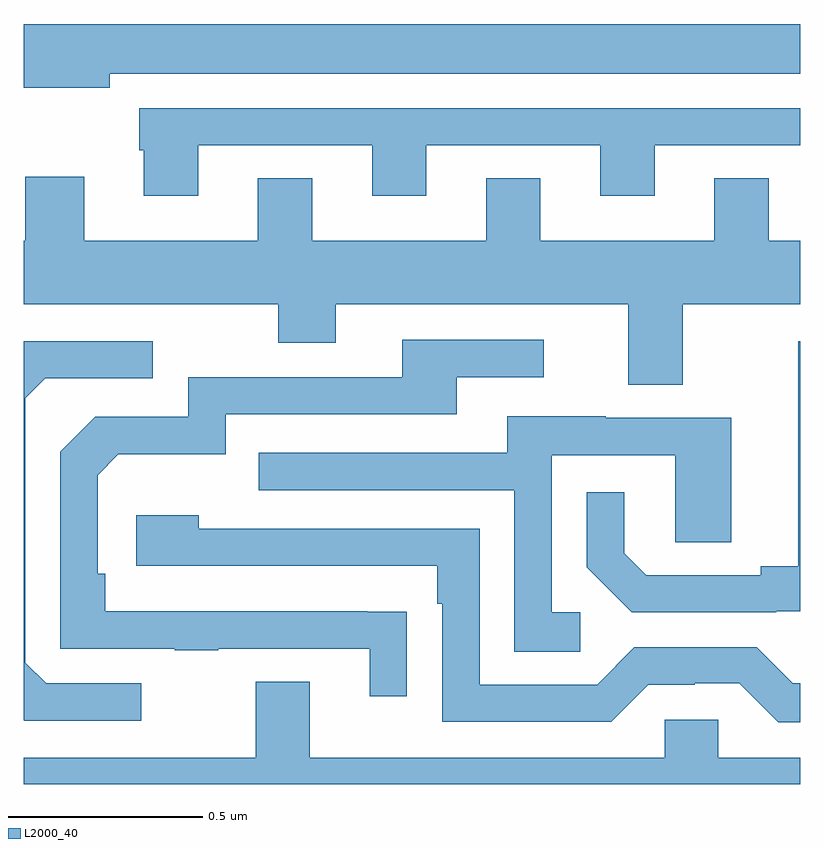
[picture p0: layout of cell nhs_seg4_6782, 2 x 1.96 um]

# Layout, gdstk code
import gdstk
lib = gdstk.Library(unit=1e-6, precision=1e-09)
def P(c, l, *ps):  # polygons
    for p in ps: c.add(gdstk.Polygon(p, *l))
L2000_40 = (2000, 40)

nhs_seg4_6782 = lib.new_cell('nhs_seg4_6782')
P(nhs_seg4_6782, L2000_40, [(194.221,814.73),(196,814.73),(196,814.858),(194,814.858),(194,814.694),(194.221,814.694)],
  [(194.449,814.545),(194.897,814.545),(194.897,814.416),(195.037,814.416),(195.037,814.545),(195.485,814.545),(195.485,814.416),(195.625,814.416),(195.625,814.545),(196,814.545),(196,814.641),(194.297,814.641),(194.297,814.533),(194.309,814.533),(194.309,814.416),(194.449,814.416)],
  [(195.697,814.136),(196,814.136),(196,814.3),(195.919,814.3),(195.919,814.46),(195.779,814.46),(195.779,814.3),(195.331,814.3),(195.331,814.46),(195.191,814.46),(195.191,814.3),(194.743,814.3),(194.743,814.46),(194.603,814.46),(194.603,814.3),(194.155,814.3),(194.155,814.465),(194.003,814.465),(194.003,814.3),(194,814.3),(194,814.136),(194.656,814.136),(194.656,814.037),(194.803,814.037),(194.803,814.136),(195.557,814.136),(195.557,813.928),(195.697,813.928)],
  [(194.987,813.344),(194.885,813.344),(194.885,813.345),(194.21,813.345),(194.21,813.442),(194.19,813.442),(194.19,813.696),(194.243,813.749),(194.52,813.749),(194.52,813.852),(195.115,813.852),(195.115,813.948),(195.34,813.948),(195.34,814.044),(194.975,814.044),(194.975,813.948),(194.424,813.948),(194.424,813.846),(194.184,813.846),(194.094,813.756),(194.094,813.249),(194.389,813.249),(194.389,813.244),(194.501,813.244),(194.501,813.249),(194.891,813.249),(194.891,813.126),(194.987,813.126)],
  [(195.938,813.345),(196,813.345),(196,814.041),(195.995,814.041),(195.995,813.461),(195.899,813.461),(195.899,813.438),(195.604,813.438),(195.547,813.495),(195.547,813.652),(195.45,813.652),(195.45,813.458),(195.566,813.342),(195.938,813.342)],
  [(194.302,813.159),(194.058,813.159),(194.004,813.213),(194.004,813.894),(194.055,813.945),(194.332,813.945),(194.332,814.041),(194,814.041),(194,813.064),(194.001,813.063),(194.302,813.063)],
  [(195.433,813.342),(195.36,813.342),(195.36,813.747),(195.678,813.747),(195.678,813.523),(195.823,813.523),(195.823,813.843),(195.499,813.843),(195.499,813.847),(195.245,813.847),(195.245,813.753),(194.605,813.753),(194.605,813.657),(195.264,813.657),(195.264,813.241),(195.433,813.241)],
  [(196,813.159),(195.981,813.159),(195.888,813.252),(195.573,813.252),(195.477,813.156),(195.174,813.156),(195.174,813.558),(194.45,813.558),(194.45,813.592),(194.289,813.592),(194.289,813.462),(195.065,813.462),(195.065,813.365),(195.078,813.365),(195.078,813.06),(195.513,813.06),(195.609,813.156),(195.728,813.156),(195.728,813.159),(195.843,813.159),(195.943,813.059),(196,813.059)],
  [(196,812.968),(195.789,812.968),(195.789,813.066),(195.651,813.066),(195.651,812.968),(194.737,812.968),(194.737,813.163),(194.597,813.163),(194.597,812.968),(194,812.968),(194,812.9),(196,812.9)])

lib.write_gds('nhs_seg4_6782.gds')
